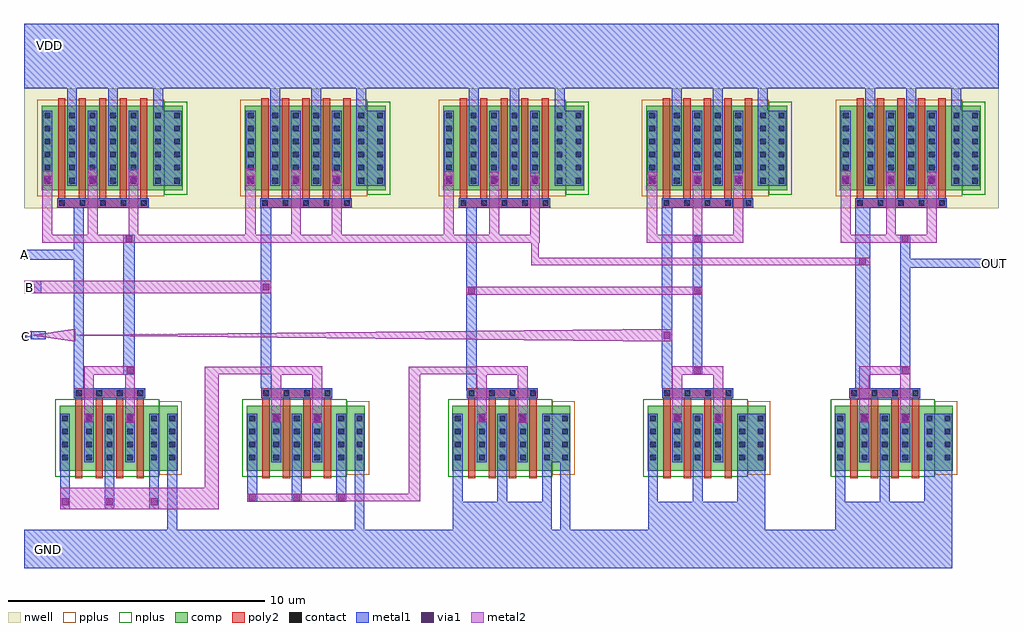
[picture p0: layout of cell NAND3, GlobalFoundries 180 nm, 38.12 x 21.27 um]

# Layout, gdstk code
import gdstk
lib = gdstk.Library(unit=1e-6, precision=5e-09)
def R(c, l, rs):  # rectangles x0, y0, x1, y1
    for r in rs: c.add(gdstk.rectangle(r[:2], r[2:], *l))
def A(c, l, x, y, w, h, nx, ny, dx, dy):  # array of equal rectangles
    R(c, l, [(x+i*dx, y+j*dy, x+i*dx+w, y+j*dy+h) for i in range(nx) for j in range(ny)])
nwell = (21, 0)
comp = (22, 0)
poly2 = (30, 0)
pplus = (31, 0)
nplus = (32, 0)
contact = (33, 0)
metal1 = (34, 0)
via1 = (35, 0)
metal2 = (36, 0)

nfet_1 = lib.new_cell('nfet$1')
R(nfet_1, comp, [(-0.42,0,0,2.54), (0,0,3.06,2.54), (3.06,0,3.48,2.54), (3.48,0,4.19,2.54)])
A(nfet_1, poly2, 0.19, -0.3, 0.28, 3.14, 4, 1, 0.8, 0)
A(nfet_1, poly2, 0.15, 2.84, 0.36, 0.36, 4, 1, 0.8, 0)
R(nfet_1, pplus, [(3.48,-0.17,4.36,2.71)])
R(nfet_1, nplus, [(-0.59,-0.24,3.48,2.78)])
A(nfet_1, contact, -0.32, 0.395, 0.22, 0.22, 1, 4, 0, 0.51)
A(nfet_1, contact, 0.62, 0.395, 0.22, 0.22, 3, 4, 0.8, 0.51)
A(nfet_1, contact, 3.16, 0.395, 0.22, 0.22, 1, 4, 0, 0.51)
A(nfet_1, contact, 3.87, 0.395, 0.22, 0.22, 1, 4, 0, 0.51)
A(nfet_1, contact, 0.22, 2.91, 0.22, 0.22, 4, 1, 0.8, 0)
A(nfet_1, metal1, 0.54, 0.315, 0.38, 1.91, 3, 1, 0.8, 0)
A(nfet_1, metal1, 0.14, 2.83, 0.38, 0.38, 4, 1, 0.8, 0)
R(nfet_1, metal1, [(-0.4,0.315,-0.02,2.225), (3.08,0.315,3.46,2.225), (3.79,0.315,4.17,2.225)])

pfet = lib.new_cell('pfet')
R(pfet, nwell, [(-1.15,-0.69,5.74,3.99)])
R(pfet, comp, [(-0.46,0,0,3.3), (0,0,3.86,3.3), (3.86,0,4.32,3.3), (4.32,0,5.05,3.3)])
A(pfet, poly2, 0.14, -0.68, 0.38, 0.38, 5, 1, 0.8, 0)
A(pfet, poly2, 0.19, -0.3, 0.28, 3.9, 5, 1, 0.8, 0)
R(pfet, pplus, [(-0.63,-0.24,4.32,3.54)])
R(pfet, nplus, [(4.32,-0.17,5.22,3.47)])
A(pfet, contact, 0.22, -0.6, 0.22, 0.22, 5, 1, 0.8, 0)
A(pfet, contact, -0.34, 0.265, 0.22, 0.22, 1, 6, 0, 0.51)
A(pfet, contact, 0.62, 0.265, 0.22, 0.22, 4, 6, 0.8, 0.51)
A(pfet, contact, 3.98, 0.265, 0.22, 0.22, 1, 6, 0, 0.51)
A(pfet, contact, 4.71, 0.265, 0.22, 0.22, 1, 6, 0, 0.51)
A(pfet, metal1, 0.14, -0.68, 0.38, 0.38, 5, 1, 0.8, 0)
A(pfet, metal1, 0.54, 0.185, 0.38, 2.93, 4, 1, 0.8, 0)
R(pfet, metal1, [(-0.42,0.185,-0.04,3.115), (3.9,0.185,4.28,3.115), (4.63,0.185,5.01,3.115)])

nand3 = lib.new_cell('NAND3')
R(nand3, nwell, [(-46.535,17.78,-45.465,22.46), (-38.78,17.78,-37.61,22.46), (-31.16,17.78,-29.505,22.46), (-23.26,17.78,-21.925,22.46)])
R(nand3, poly2, [(-51.475,10.355,-48.695,10.735), (-44.16,10.355,-41.38,10.735), (-36.13,10.355,-33.35,10.735), (-28.5,10.355,-25.72,10.735), (-21.19,10.355,-18.41,10.735), (-52.135,17.79,-48.555,18.17), (-44.2,17.79,-40.62,18.17), (-36.45,17.79,-32.87,18.17), (-28.515,17.79,-24.935,18.17), (-20.955,17.79,-17.375,18.17)])
A(nand3, metal1, -44.7, 6.31, 0.38, 1.53, 3, 1, 1.74, 0)
A(nand3, metal1, -36.67, 6.31, 0.38, 1.53, 3, 1, 1.74, 0)
A(nand3, metal1, -29.04, 6.31, 0.38, 1.53, 3, 1, 1.74, 0)
A(nand3, metal1, -21.73, 6.31, 0.38, 1.53, 3, 1, 1.74, 0)
R(nand3, metal1, [(-53.425,3.71,-17.87,5.22), (-17.87,3.71,-17.16,7.84), (-40.51,4.24,-40.13,8.48), (-25.37,4.745,-24.47,7.84), (-36.67,5.045,-32.81,6.31), (-47.825,5.16,-47.445,9.19), (-32.48,5.22,-32.085,5.31), (-29.04,5.22,-25.15,5.31), (-21.73,5.22,-17.87,6.31), (-32.48,5.31,-32.09,7.84), (-29.04,5.31,-25.15,6.31), (-52.015,6.01,-51.635,7.84), (-50.275,6.01,-49.895,7.95), (-48.535,6.01,-48.155,7.98), (-33.19,7.84,-32.1,9.75), (-25.56,7.84,-24.47,9.75), (-18.25,7.84,-17.16,9.75), (-20.955,10.305,-20.36,18.17), (-51.475,10.355,-48.695,10.735), (-44.16,10.355,-41.38,10.735), (-36.13,10.355,-33.35,10.735), (-28.5,10.355,-25.72,10.735), (-21.19,10.355,-18.41,10.735), (-49.55,11.265,-49.1,11.595), (-27.31,11.265,-26.925,16.73), (-19.19,11.28,-18.81,16.73), (-49.55,11.595,-49.095,16.73), (-53.41,12.66,-52.57,12.96), (-53.425,14.45,-52.75,14.93), (-19.19,15.455,-15.3,15.79), (-52.135,17.79,-48.555,18.17), (-44.2,17.79,-40.62,18.17), (-36.45,17.79,-32.87,18.17), (-28.515,17.79,-25.735,18.17), (-20.955,17.79,-17.375,18.17), (-48.375,18.655,-47.265,21.585), (-40.44,18.655,-39.33,21.585), (-32.69,18.655,-31.58,21.585), (-24.755,18.655,-23.645,21.585), (-17.195,18.655,-16.085,21.585), (-51.735,21.585,-51.355,23.275), (-50.135,21.585,-49.755,23.275), (-48.375,21.585,-47.995,23.275), (-43.8,21.585,-43.42,23.275), (-42.2,21.585,-41.82,23.275), (-40.44,21.585,-40.06,23.275), (-36.05,21.585,-35.67,23.275), (-34.45,21.585,-34.07,23.275), (-32.69,21.585,-32.31,23.275), (-28.115,21.585,-27.735,23.275), (-26.515,21.585,-26.135,23.275), (-24.755,21.585,-24.375,23.275), (-20.555,21.585,-20.175,23.275), (-18.955,21.585,-18.575,23.275), (-17.195,21.585,-16.815,23.275), (-53.425,22.46,-15.355,24.975)])
R(nand3, via1, [(-51.945,6.175,-51.685,6.435), (-50.22,6.175,-49.96,6.435), (-48.465,6.175,-48.205,6.435), (-44.64,6.335,-44.38,6.595), (-44.64,6.335,-44.38,6.595), (-42.9,6.335,-42.64,6.595), (-42.9,6.335,-42.64,6.595), (-41.16,6.335,-40.9,6.595), (-41.16,6.335,-40.9,6.595), (-49.415,9.435,-49.155,9.695), (-42.1,9.435,-41.84,9.695), (-34.07,9.435,-33.81,9.695), (-26.44,9.435,-26.18,9.695), (-19.13,9.435,-18.87,9.695), (-51.015,9.455,-50.755,9.715), (-43.7,9.455,-43.44,9.715), (-35.67,9.455,-35.41,9.715), (-28.04,9.455,-27.78,9.715), (-20.73,9.455,-20.47,9.715), (-27.245,11.295,-26.985,11.555), (-19.13,11.295,-18.87,11.555), (-49.405,11.3,-49.145,11.56), (-53.375,12.68,-53.115,12.94), (-28.44,12.68,-28.18,12.94), (-36.07,14.415,-35.81,14.675), (-27.25,14.415,-26.99,14.675), (-53.29,14.56,-53.03,14.82), (-44.1,14.56,-43.84,14.82), (-20.795,15.56,-20.535,15.82), (-49.46,16.44,-49.2,16.7), (-27.25,16.44,-26.99,16.7), (-19.14,16.45,-18.88,16.71), (-52.635,18.775,-52.375,19.035), (-50.87,18.775,-50.61,19.035), (-49.275,18.775,-49.015,19.035), (-44.7,18.775,-44.44,19.035), (-42.935,18.775,-42.675,19.035), (-41.34,18.775,-41.08,19.035), (-36.95,18.775,-36.69,19.035), (-35.185,18.775,-34.925,19.035), (-33.59,18.775,-33.33,19.035), (-29.015,18.775,-28.755,19.035), (-27.25,18.775,-26.99,19.035), (-25.655,18.775,-25.395,19.035), (-21.455,18.775,-21.195,19.035), (-19.69,18.775,-19.43,19.035), (-18.095,18.775,-17.835,19.035)])
R(nand3, metal2, [(-52.015,6.01,-45.825,6.86), (-44.7,6.31,-40.84,6.625), (-46.355,6.315,-45.825,11.58), (-38.39,6.32,-37.94,11.58), (-49.475,9.385,-49.095,11.595), (-42.16,9.385,-41.78,11.595), (-34.13,9.385,-33.75,11.595), (-26.5,9.385,-26.12,11.595), (-19.19,9.385,-18.81,11.595), (-51.075,9.42,-50.695,11.595), (-43.76,9.42,-43.38,11.595), (-35.73,9.42,-35.35,11.595), (-28.1,9.42,-27.72,11.595), (-20.79,9.42,-20.41,11.595), (-51.075,11.265,-49.095,11.595), (-49.55,11.265,-49.095,11.595), (-43.76,11.265,-41.78,11.595), (-35.73,11.265,-33.75,11.595), (-28.1,11.265,-26.12,11.595), (-20.79,11.265,-18.81,11.595), (-27.31,14.395,-26.925,14.695), (-53.425,14.45,-43.77,14.93), (-52.71,16.415,-52.315,18.655), (-52.71,16.415,-48.97,16.73), (-50.93,16.415,-50.55,18.655), (-49.335,16.415,-48.955,18.655), (-48.97,16.415,-33.285,16.73), (-44.775,16.415,-44.38,18.655), (-44.775,16.415,-41.035,16.73), (-42.995,16.415,-42.615,18.655), (-41.4,16.415,-41.02,18.655), (-37.025,16.415,-36.63,18.655), (-37.025,16.415,-33.285,16.73), (-35.245,16.415,-34.865,18.655), (-33.65,16.415,-33.27,18.655), (-29.09,16.415,-28.695,18.655), (-29.09,16.415,-25.35,16.73), (-27.31,16.415,-26.93,18.655), (-25.715,16.415,-25.335,18.655), (-21.53,16.415,-21.135,18.655), (-21.53,16.415,-17.79,16.73), (-19.75,16.415,-19.37,18.655), (-18.155,16.415,-17.775,18.655), (-52.695,18.375,-52.315,19.215), (-50.935,18.38,-50.55,19.315), (-41.4,18.47,-41.02,19.23), (-49.335,18.495,-48.955,19.31), (-43,18.505,-42.615,19.265), (-44.76,18.515,-44.38,19.325), (-37.01,18.52,-36.63,19.21), (-29.075,18.56,-28.695,19.205), (-27.315,18.57,-26.93,19.175), (-35.25,18.575,-34.865,19.195), (-33.65,18.59,-33.27,19.16), (-19.75,18.63,-19.375,19.195), (-25.715,18.64,-25.335,19.155), (-21.53,18.655,-21.135,19.235), (-18.155,18.655,-17.775,19.205)])
nand3.add(gdstk.FlexPath([(-51.285,15.95),(-53.425,15.95)], 0.4, ends="flush", simple_path=True, layer=34, datatype=0))  # metal1
nand3.add(gdstk.FlexPath([(-51.285,10.725),(-51.285,18.09)], 0.4, ends="flush", simple_path=True, layer=34, datatype=0))  # metal1
nand3.add(gdstk.FlexPath([(-43.97,10.735),(-43.97,17.98)], 0.4, ends="flush", simple_path=True, layer=34, datatype=0))  # metal1
nand3.add(gdstk.FlexPath([(-35.94,10.655),(-35.94,17.79),(-35.94,18.065)], 0.4, ends="flush", simple_path=True, layer=34, datatype=0))  # metal1
nand3.add(gdstk.FlexPath([(-28.31,10.735),(-28.31,18.17)], 0.4, ends="flush", simple_path=True, layer=34, datatype=0))  # metal1
nand3.add(gdstk.FlexPath([(-28.11,12.81),(-53.175,12.81),(-51.43,12.81)], 0.5, ends="flush", simple_path=True, layer=36, datatype=0))  # metal2
nand3.add(gdstk.FlexPath([(-43.76,11.43),(-46.355,11.43)], 0.3, ends="flush", simple_path=True, layer=36, datatype=0))  # metal2
nand3.add(gdstk.FlexPath([(-40.84,6.47),(-37.94,6.47)], 0.3, ends="flush", simple_path=True, layer=36, datatype=0))  # metal2
nand3.add(gdstk.FlexPath([(-35.73,11.43),(-38.39,11.43)], 0.3, ends="flush", simple_path=True, layer=36, datatype=0))  # metal2
nand3.add(gdstk.FlexPath([(-33.46,16.415),(-33.46,15.69),(-20.36,15.69)], 0.3, ends="flush", simple_path=True, layer=36, datatype=0))  # metal2
nand3.add(gdstk.FlexPath([(-27.31,14.545),(-36.14,14.545),(-36.14,14.545)], 0.3, ends="flush", simple_path=True, layer=36, datatype=0))  # metal2
nand3.add(gdstk.Reference(nfet_1, (-21.33,7.525)))
nand3.add(gdstk.Reference(pfet, (-36.59,18.47)))
nand3.add(gdstk.Reference(pfet, (-21.095,18.47)))
nand3.add(gdstk.Reference(pfet, (-52.275,18.47)))
nand3.add(gdstk.Reference(pfet, (-44.34,18.47)))
nand3.add(gdstk.Reference(pfet, (-28.655,18.47)))
nand3.add(gdstk.Reference(nfet_1, (-51.615,7.525)))
nand3.add(gdstk.Reference(nfet_1, (-36.27,7.525)))
nand3.add(gdstk.Reference(nfet_1, (-28.64,7.525)))
nand3.add(gdstk.Reference(nfet_1, (-44.3,7.525)))
nand3.add(gdstk.Label('B', (-53.215,14.68), layer=34, texttype=10))
nand3.add(gdstk.Label('C', (-53.35,12.77), layer=34, texttype=10))
nand3.add(gdstk.Label('A', (-53.4,15.97), layer=34, texttype=10))
nand3.add(gdstk.Label('GND', (-52.46,4.44), layer=34, texttype=10))
nand3.add(gdstk.Label('OUT', (-15.52,15.615), layer=34, texttype=10))
nand3.add(gdstk.Label('VDD', (-52.415,24.14), layer=34, texttype=10))

lib.write_gds('NAND3.gds')
